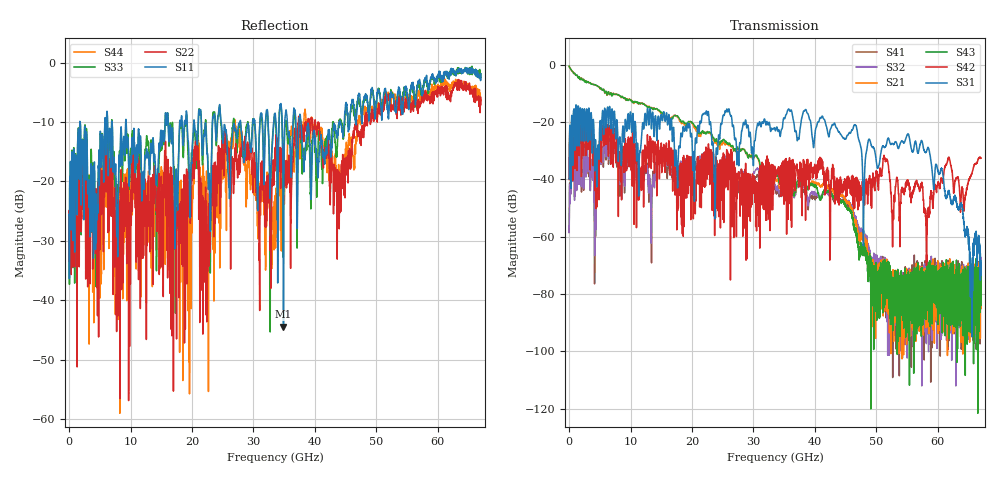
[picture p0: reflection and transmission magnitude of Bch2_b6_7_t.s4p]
!Agilent Technologies,N5247A,US51170199,A.09.90.13
!Agilent N5247A: A.09.90.13
!Date: Tuesday, October 23, 2018 10:11:17
!Correction: S11(Full 4 Port(1,2,3,4))
!S12(Full 4 Port(1,2,3,4))
!S13(Full 4 Port(1,2,3,4))
!S14(Full 4 Port(1,2,3,4))
!S21(Full 4 Port(1,2,3,4))
!S22(Full 4 Port(1,2,3,4))
!S23(Full 4 Port(1,2,3,4))
!S24(Full 4 Port(1,2,3,4))
!S31(Full 4 Port(1,2,3,4))
!S32(Full 4 Port(1,2,3,4))
!S33(Full 4 Port(1,2,3,4))
!S34(Full 4 Port(1,2,3,4))
!S41(Full 4 Port(1,2,3,4))
!S42(Full 4 Port(1,2,3,4))
!S43(Full 4 Port(1,2,3,4))
!S44(Full 4 Port(1,2,3,4))
!S4P File: Measurements: <S11,S12,S13,S14>,
!<S21,S22,S23,S24>,
!<S31,S32,S33,S34>,
!<S41,S42,S43,S44>:
# Hz S  dB  R 50
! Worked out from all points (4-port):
!   6701 points, 10 MHz to 67 GHz, reference 50 ohm
!   strongest paths, dB at 10 MHz, 16.76 GHz, 33.51 GHz, 50.25 GHz, 67 GHz:
!     S31: -39.8, -24.1, -22.5, -35.9, -68.3
!     S42: -40.0, -30.6, -37.9, -41.9, -32.5
!     S43: -0.4, -18.6, -37.5, -79.5, -78.2
!     S21: -0.5, -18.2, -39.4, -77.1, -73.1
!     S32: -58.5, -35.9, -42.1, -69.0, -74.3
!     S41: -58.5, -39.3, -43.3, -71.2, -71.8
!   lowest |S11| = -44.5 dB at 34.88 GHz (marker M1), VSWR 1.01, Z = 49.7 + j0.497 ohm
!   |S11| at or under -10 dB: 1.782 GHz to 5.808 GHz (4.026 GHz wide, 106 % of centre); 9.293 GHz to 15.61 GHz (6.316 GHz wide, 50.7 % of centre); 37.74 GHz to 44.01 GHz (6.267 GHz wide, 15.3 % of centre)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
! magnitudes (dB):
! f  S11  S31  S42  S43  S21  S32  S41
! 10 MHz  -25.6  -39.8  -40.0  -0.4  -0.5  -58.5  -58.5
! 6.019 GHz  -15.0  -22.0  -27.7  -9.2  -9.2  -31.7  -32.7
! 22.4 GHz  -14.7  -16.3  -29.6  -23.9  -23.7  -30.9  -33.0
! 23.83 GHz  -11.6  -39.1  -49.7  -26.3  -26.9  -35.6  -37.3
! 34.88 GHz  -44.5  -18.7  -34.9  -38.8  -39.5  -40.0  -40.8
! 57.37 GHz  -5.2  -26.4  -41.1  -79.8  -87.3  -82.5  -75.7
! 67 GHz  -1.9  -68.3  -32.5  -78.2  -73.1  -74.3  -71.8
